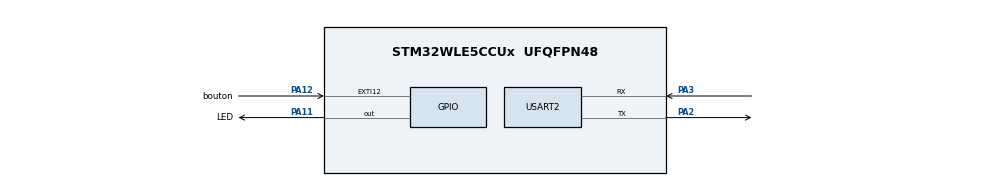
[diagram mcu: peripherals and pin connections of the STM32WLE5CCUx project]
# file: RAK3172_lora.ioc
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FREERTOS.Tasks01=defaultTask,24,256,StartDefaultTask,Default,NULL,Dynamic,NULL,NULL;LORA_RX_Task,8,256,LORA_RXTsk,Default,NULL,Dynamic,NULL,NULL;LORA_TX_Task,12,256,LORA_TXTsk,Default,NULL,Dynamic,NULL,NULL;Appli_Task,24,480,Appli_Tsk,Default,NULL,Dynamic,NULL,NULL
FREERTOS.configTOTAL_HEAP_SIZE=10000
FREERTOS.configUSE_NEWLIB_REENTRANT=1
FREERTOS.configUSE_TICKLESS_IDLE=1
IWDG.Prescaler=IWDG_PRESCALER_256
IWDG.Reload=0xfff
IWDG.Window=0xfff
Mcu.Family=STM32WL
Mcu.Name=STM32WLE5CCUx
Mcu.Package=UFQFPN48
NVIC.PriorityGroup=NVIC_PRIORITYGROUP_4
NVIC.SUBGHZ_Radio_IRQn=true\:5\:0\:false\:false\:true\:true\:true\:true\:true
NVIC.TIM16_IRQn=true\:0\:0\:false\:false\:true\:false\:false\:true\:true
NVIC.TimeBase=TIM16_IRQn
NVIC.TimeBaseIP=TIM16
PA11.GPIO_Label=LED
PA11.PinState=GPIO_PIN_RESET
PA11.Signal=GPIO_Output
PA12.GPIO_Label=bouton
PA12.GPIO_ModeDefaultEXTI=GPIO_MODE_IT_FALLING
PA12.GPIO_PuPd=GPIO_PULLUP
PA12.Signal=GPXTI12
PA2.Mode=Asynchronous
PA2.Signal=USART2_TX
PA3.Mode=Asynchronous
PA3.Signal=USART2_RX
ProjectManager.HeapSize=0x200
ProjectManager.StackSize=0x400
ProjectManager.TargetToolchain=STM32CubeIDE
RCC.HSE_VALUE=8000000
RCC.HSI_VALUE=16000000
RCC.LSE_VALUE=32768
RCC.VCOOutputFreq_Value=32000000
USART2.VirtualMode-Asynchronous=VM_ASYNC
VP_FREERTOS_VS_CMSIS_V2.Mode=CMSIS_V2
VP_IWDG_VS_IWDG.Mode=IWDG_Activate
VP_RTC_VS_RTC_Activate.Mode=RTC_Enabled
VP_RTC_VS_RTC_Calendar.Mode=RTC_Calendar
VP_SUBGHZ_VS_SUBGHZ.Mode=SUBGHZ_Activate
VP_SYS_VS_tim16.Mode=TIM16
board=custom

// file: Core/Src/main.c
/* USER CODE BEGIN Header */
/**
  ******************************************************************************
  * @file           : main.c
  * @brief          : Main program body
  ******************************************************************************
  * @attention
  *
  * Copyright (c) 2025 STMicroelectronics.
  * All rights reserved.
  *
  * This software is licensed under terms that can be found in the LICENSE file
  * in the root directory of this software component.
  * If no LICENSE file comes with this software, it is provided AS-IS.
  *
  ******************************************************************************
  */

/*
 TODO : timer, reception/traitement message, eeprom lecture/ecriture, log en flash, pile envoi message lora,
 mesure mode STOP, watchdog, adresses LORA/Uart
 clignot sorties, pwm,  antirebond 2 boutons, 2e uart

 v1.5 10/2025 : eeprom, log_flash, rtc, messages binaires, attente dans en_queue
 v1.4 09/2025 : fct : refonte reception uart, watchdog contextuel, traitement_rx, opti stack
 v1.3 09/2025 : fct : augmentation stack taches, erreur_freertos
 v1.2 09/2025 : pile envoi uart, timer, code_erreur
 v1.1 09/2025 : STM32CubeMX + freertos+ subGhz+ Uart2+ RTC+ print_log+ event_queue
*/

/* USER CODE END Header */
#include "main.h"
#include "cmsis_os.h"

/* USER CODE BEGIN Includes */

#include <communication.h>
#include <fonctions.h>
#include <eeprom_emul.h>
#include <log_flash.h>
#include "timers.h"
#include "queue.h"
#include <stdio.h>    // Pour sprintf
#include <string.h>   // Pour strlen
#include <stdarg.h>   // Pour va_list (si vous utilisez print_log)

/* USER CODE END Includes */

/* USER CODE BEGIN PTD */

extern TimerHandle_t HTimer_24h;
extern TimerHandle_t HTimer_20min;
extern osThreadId_t Uart_RX_TaskHandle;
extern osThreadId_t Uart_TX_TaskHandle;

HAL_StatusTypeDef configure_lse_oscillator(void);
HAL_StatusTypeDef configure_lsi_oscillator(void);

/* USER CODE END PTD */

/* USER CODE BEGIN PM */
 QueueHandle_t Event_QueueHandle;

 /* Stack utilisée (en mots de 32 bits)
  création tache sans rien : 48
  LOG_INFO : 58
  LOG %s : 78
  envoie_mess_ASC simple: 64
  envoie_mess_ASC %s : 76
  eeprom : 90
  */

/* USER CODE END PM */

IWDG_HandleTypeDef hiwdg;

RTC_HandleTypeDef hrtc;

SUBGHZ_HandleTypeDef hsubghz;

UART_HandleTypeDef huart2;

/* Definitions for defaultTask */
osThreadId_t defaultTaskHandle;
const osThreadAttr_t defaultTask_attributes = {
  .name = "defaultTask",
  .priority = (osPriority_t) osPriorityNormal,
  .stack_size = 256 * 4
};
/* Definitions for LORA_RX_Task */
osThreadId_t LORA_RX_TaskHandle;
const osThreadAttr_t LORA_RX_Task_attributes = {
  .name = "LORA_RX_Task",
  .priority = (osPriority_t) osPriorityLow,
  .stack_size = 256 * 4
};
/* Definitions for LORA_TX_Task */
osThreadId_t LORA_TX_TaskHandle;
const osThreadAttr_t LORA_TX_Task_attributes = {
  .name = "LORA_TX_Task",
  .priority = (osPriority_t) osPriorityLow4,
  .stack_size = 256 * 4
};
/* Definitions for Appli_Task */
osThreadId_t Appli_TaskHandle;
const osThreadAttr_t Appli_Task_attributes = {
  .name = "Appli_Task",
  .priority = (osPriority_t) osPriorityNormal,
  .stack_size = 480 * 4
};
/* USER CODE BEGIN PV */

uint8_t test_val=0;

/* USER CODE END PV */

void SystemClock_Config(void);
static void MX_GPIO_Init(void);
static void MX_SUBGHZ_Init(void);
static void MX_RTC_Init(void);
static void MX_USART2_UART_Init(void);
static void MX_IWDG_Init(void);
void StartDefaultTask(void *argument);
void LORA_RXTsk(void *argument);
void LORA_TXTsk(void *argument);
void Appli_Tsk(void *argument);

int main(void)
{

  /* MCU Configuration--------------------------------------------------------*/

  /* Reset of all peripherals, Initializes the Flash interface and the Systick. */
  HAL_Init();

  /* Configure the system clock */
  SystemClock_Config();

  /* Initialize all configured peripherals */
  MX_GPIO_Init();
  MX_SUBGHZ_Init();
  MX_RTC_Init();
  MX_USART2_UART_Init();
  MX_IWDG_Init();
  /* USER CODE BEGIN 2 */

  //LOG_INFO("=== RAK3172 LoRa System Started ===");
  //LOG_INFO("Log level: %d", get_log_level());

  char init_msg[] = "-- RAK3172 Init. Log level:x\r";
  init_msg[0] = dest_log;
  init_msg[1] = My_Address;
  init_msg[27] = get_log_level()+'0';
  uint16_t len = strlen(init_msg);
  HAL_UART_Transmit(&huart2, (uint8_t*)init_msg, len, 3000);
  HAL_Delay(500);

  // Afficher la cause du reset dès le démarrage
  //display_reset_cause();

  // configure l'oscillateur
 /* if (configure_lsi_oscillator() == HAL_OK) {
        LOG_INFO("LSI configured (no TCXO)");
  } else {
         LOG_ERROR("No RTC oscillator available");
            }*/
  /* Essayer LSE d'abord (TCXO)
      if (configure_lse_oscillator() == HAL_OK) {
          LOG_INFO("TCXO detected and configured");
      } else {
          // Fallback sur LSI
          if (configure_lsi_oscillator() == HAL_OK) {
              LOG_INFO("LSI configured (no TCXO)");
          } else {
              LOG_ERROR("No RTC oscillator available");
          }
      }*/

  /* USER CODE END 2 */

  /* Init scheduler */
  osKernelInitialize();

  /* USER CODE BEGIN RTOS_TIMERS */
  //const char* init_msg2 = "suite\r\n";
  //len = strlen(init_msg2);
  //HAL_UART_Transmit(&huart2, (uint8_t*)init_msg2, len, 3000);
  //HAL_Delay(100);
  //char lsi_status[20];
  //sprintf(lsi_status, "LSI status: %s", __HAL_RCC_GET_FLAG(RCC_FLAG_LSIRDY) ? "Ready" : "Not Ready");
  //len = strlen(lsi_status);
  //HAL_UART_Transmit(&huart2, (uint8_t*)lsi_status, len, 3000);
  //HAL_Delay(100);

  /* start timers, add new ones, ... */
  /* USER CODE END RTOS_TIMERS */

  /* USER CODE BEGIN RTOS_QUEUES */
  /* add queues, ... */
  Event_QueueHandle = xQueueCreate(32, sizeof(uint16_t));

  size_t freeHeap = xPortGetFreeHeapSize();
    char msgL[50];
    sprintf(msgL, "Free heap before tasks: %i bytes\r", freeHeap);
    HAL_Delay(500);
    HAL_UART_Transmit(&huart2, (uint8_t*)msgL, strlen(msgL), 3000);
    HAL_Delay(500);

    init_communication();

  /* USER CODE END RTOS_QUEUES */

  /* Create the thread(s) */
  /* creation of defaultTask */
  defaultTaskHandle = osThreadNew(StartDefaultTask, NULL, &defaultTask_attributes);

  /* creation of LORA_RX_Task */
  LORA_RX_TaskHandle = osThreadNew(LORA_RXTsk, NULL, &LORA_RX_Task_attributes);

  /* creation of LORA_TX_Task */
  LORA_TX_TaskHandle = osThreadNew(LORA_TXTsk, NULL, &LORA_TX_Task_attributes);

  /* creation of Appli_Task */
  Appli_TaskHandle = osThreadNew(Appli_Tsk, NULL, &Appli_Task_attributes);

  /* USER CODE BEGIN RTOS_THREADS */
  uint8_t code_err_tache=0;
    if (defaultTaskHandle == NULL) code_err_tache=1;
    if (LORA_RX_TaskHandle == NULL) code_err_tache|=2;
    if (LORA_TX_TaskHandle == NULL) code_err_tache|=4;
    if (Appli_TaskHandle == NULL) code_err_tache|=8;
    if (Uart_RX_TaskHandle == NULL) code_err_tache|=16;
    if (Uart_TX_TaskHandle == NULL) code_err_tache|=32;

    if (code_err_tache) {
  	   HAL_Delay(500);
  	   sprintf(msgL, "erreur tache: %02X ", code_err_tache);
  	  HAL_UART_Transmit(&huart2, (uint8_t*)msgL, strlen(msgL), 3000);
  	   HAL_Delay(500);
        //LOG_ERROR("Failed to create Appli_Task");
        // La tâche n'a pas pu être créée
    }
    // Après la création :
     freeHeap = xPortGetFreeHeapSize();
    sprintf(msgL, "Free heap after tasks: %i bytes\r", freeHeap);
    HAL_Delay(500);
    HAL_UART_Transmit(&huart2, (uint8_t*)msgL, strlen(msgL), 3000);
    HAL_Delay(500);

    init_functions();

  /* add threads, ... */
  /* USER CODE END RTOS_THREADS */

  /* Start scheduler */
  osKernelStart();

  /* We should never get here as control is now taken by the scheduler */

  /* Infinite loop */
  while (1)
  {

  }
}

void SystemClock_Config(void)
{
  RCC_OscInitTypeDef RCC_OscInitStruct = {0};
  RCC_ClkInitTypeDef RCC_ClkInitStruct = {0};

  /** Configure the main internal regulator output voltage
  */
  __HAL_PWR_VOLTAGESCALING_CONFIG(PWR_REGULATOR_VOLTAGE_SCALE2);

  /** Initializes the CPU, AHB and APB buses clocks
  */
  RCC_OscInitStruct.OscillatorType = RCC_OSCILLATORTYPE_LSI|RCC_OSCILLATORTYPE_MSI;
  RCC_OscInitStruct.MSIState = RCC_MSI_ON;
  RCC_OscInitStruct.MSICalibrationValue = RCC_MSICALIBRATION_DEFAULT;
  RCC_OscInitStruct.MSIClockRange = RCC_MSIRANGE_6;
  RCC_OscInitStruct.LSIDiv = RCC_LSI_DIV1;
  RCC_OscInitStruct.LSIState = RCC_LSI_ON;
  RCC_OscInitStruct.PLL.PLLState = RCC_PLL_NONE;
  if (HAL_RCC_OscConfig(&RCC_OscInitStruct) != HAL_OK)
  {
    Error_Handler();
  }

  /** Configure the SYSCLKSource, HCLK, PCLK1 and PCLK2 clocks dividers
  */
  RCC_ClkInitStruct.ClockType = RCC_CLOCKTYPE_HCLK3|RCC_CLOCKTYPE_HCLK
                              |RCC_CLOCKTYPE_SYSCLK|RCC_CLOCKTYPE_PCLK1
                              |RCC_CLOCKTYPE_PCLK2;
  RCC_ClkInitStruct.SYSCLKSource = RCC_SYSCLKSOURCE_MSI;
  RCC_ClkInitStruct.AHBCLKDivider = RCC_SYSCLK_DIV1;
  RCC_ClkInitStruct.APB1CLKDivider = RCC_HCLK_DIV1;
  RCC_ClkInitStruct.APB2CLKDivider = RCC_HCLK_DIV1;
  RCC_ClkInitStruct.AHBCLK3Divider = RCC_SYSCLK_DIV1;

  if (HAL_RCC_ClockConfig(&RCC_ClkInitStruct, FLASH_LATENCY_0) != HAL_OK)
  {
    Error_Handler();
  }
}

static void MX_IWDG_Init(void)
{

  /* USER CODE BEGIN IWDG_Init 1 */
	#ifdef WATCHDOG

  /* USER CODE END IWDG_Init 1 */
  hiwdg.Instance = IWDG;
  hiwdg.Init.Prescaler = IWDG_PRESCALER_256;
  hiwdg.Init.Window = 0xfff;
  hiwdg.Init.Reload = 0xfff;
  if (HAL_IWDG_Init(&hiwdg) != HAL_OK)
  {
    Error_Handler();
  }
  /* USER CODE BEGIN IWDG_Init 2 */
	#endif

  /* USER CODE END IWDG_Init 2 */

}

static void MX_RTC_Init(void)
{

  RTC_TimeTypeDef sTime = {0};
  RTC_DateTypeDef sDate = {0};

  /** Initialize RTC Only
  */
  hrtc.Instance = RTC;
  hrtc.Init.HourFormat = RTC_HOURFORMAT_24;
  hrtc.Init.AsynchPrediv = 127;
  hrtc.Init.SynchPrediv = 255;
  hrtc.Init.OutPut = RTC_OUTPUT_DISABLE;
  hrtc.Init.OutPutRemap = RTC_OUTPUT_REMAP_NONE;
  hrtc.Init.OutPutPolarity = RTC_OUTPUT_POLARITY_HIGH;
  hrtc.Init.OutPutType = RTC_OUTPUT_TYPE_OPENDRAIN;
  hrtc.Init.OutPutPullUp = RTC_OUTPUT_PULLUP_NONE;
  hrtc.Init.BinMode = RTC_BINARY_NONE;
  if (HAL_RTC_Init(&hrtc) != HAL_OK)
  {
    Error_Handler();
  }

  /** Initialize RTC and set the Time and Date
  */
  sTime.Hours = 0x0;
  sTime.Minutes = 0x0;
  sTime.Seconds = 0x0;
  sTime.DayLightSaving = RTC_DAYLIGHTSAVING_NONE;
  sTime.StoreOperation = RTC_STOREOPERATION_RESET;
  if (HAL_RTC_SetTime(&hrtc, &sTime, RTC_FORMAT_BCD) != HAL_OK)
  {
    Error_Handler();
  }
  sDate.WeekDay = RTC_WEEKDAY_MONDAY;
  sDate.Month = RTC_MONTH_JANUARY;
  sDate.Date = 0x1;
  sDate.Year = 0x0;

  if (HAL_RTC_SetDate(&hrtc, &sDate, RTC_FORMAT_BCD) != HAL_OK)
  {
    Error_Handler();
  }

}

static void MX_SUBGHZ_Init(void)
{

  hsubghz.Init.BaudratePrescaler = SUBGHZSPI_BAUDRATEPRESCALER_8;
  if (HAL_SUBGHZ_Init(&hsubghz) != HAL_OK)
  {
    Error_Handler();
  }
  /* USER CODE BEGIN SUBGHZ_Init 2 */

  // Configuration LoRa
  // Fréquence 868 MHz
  uint8_t freq_config[] = {0x00, 0x00, 0x00, 0x00}; // À ajuster selon votre fréquence
  HAL_SUBGHZ_WriteRegisters(&hsubghz, 0x08, freq_config, 4);

  // Configuration LoRa (SF7, BW125, CR4/5)
  uint8_t lora_config[] = {0x72, 0x74, 0x00};
  HAL_SUBGHZ_WriteRegisters(&hsubghz, 0x1E, lora_config, 3);

  //LOG_INFO("SUBGHZ LoRa configured");

  /* USER CODE END SUBGHZ_Init 2 */

}

static void MX_USART2_UART_Init(void)
{

  huart2.Instance = USART2;
  huart2.Init.BaudRate = 115200;
  huart2.Init.WordLength = UART_WORDLENGTH_8B;
  huart2.Init.StopBits = UART_STOPBITS_1;
  huart2.Init.Parity = UART_PARITY_NONE;
  huart2.Init.Mode = UART_MODE_TX_RX;
  huart2.Init.HwFlowCtl = UART_HWCONTROL_NONE;
  huart2.Init.OverSampling = UART_OVERSAMPLING_16;
  huart2.Init.OneBitSampling = UART_ONE_BIT_SAMPLE_DISABLE;
  huart2.Init.ClockPrescaler = UART_PRESCALER_DIV1;
  huart2.AdvancedInit.AdvFeatureInit = UART_ADVFEATURE_NO_INIT;
  if (HAL_UART_Init(&huart2) != HAL_OK)
  {
    Error_Handler();
  }
  if (HAL_UARTEx_SetTxFifoThreshold(&huart2, UART_TXFIFO_THRESHOLD_1_8) != HAL_OK)
  {
    Error_Handler();
  }
  if (HAL_UARTEx_SetRxFifoThreshold(&huart2, UART_RXFIFO_THRESHOLD_1_8) != HAL_OK)
  {
    Error_Handler();
  }
  if (HAL_UARTEx_DisableFifoMode(&huart2) != HAL_OK)
  {
    Error_Handler();
  }

}

static void MX_GPIO_Init(void)
{
  GPIO_InitTypeDef GPIO_InitStruct = {0};

  /* GPIO Ports Clock Enable */
  __HAL_RCC_GPIOA_CLK_ENABLE();

  /*Configure GPIO pin Output Level */
  HAL_GPIO_WritePin(LED_GPIO_Port, LED_Pin, GPIO_PIN_RESET);

  /*Configure GPIO pin : LED_Pin */
  GPIO_InitStruct.Pin = LED_Pin;
  GPIO_InitStruct.Mode = GPIO_MODE_OUTPUT_PP;
  GPIO_InitStruct.Pull = GPIO_NOPULL;
  GPIO_InitStruct.Speed = GPIO_SPEED_FREQ_LOW;
  HAL_GPIO_Init(LED_GPIO_Port, &GPIO_InitStruct);

  /*Configure GPIO pin : bouton_Pin */
  GPIO_InitStruct.Pin = bouton_Pin;
  GPIO_InitStruct.Mode = GPIO_MODE_IT_FALLING;
  GPIO_InitStruct.Pull = GPIO_PULLUP;
  HAL_GPIO_Init(bouton_GPIO_Port, &GPIO_InitStruct);

}

/* USER CODE BEGIN 4 */

/**
 * @brief Configuration de LSE (TCXO externe)
 * @retval HAL_StatusTypeDef: Statut de la configuration
 */
HAL_StatusTypeDef configure_lse_oscillator(void)
{
    RCC_OscInitTypeDef RCC_OscInitStruct = {0};
    HAL_StatusTypeDef status;

    LOG_DEBUG("Attempting to configure LSE (TCXO)");

    // Configuration LSE
    RCC_OscInitStruct.OscillatorType = RCC_OSCILLATORTYPE_LSE;
    RCC_OscInitStruct.LSEState = RCC_LSE_ON;
    RCC_OscInitStruct.PLL.PLLState = RCC_PLL_NONE;

    status = HAL_RCC_OscConfig(&RCC_OscInitStruct);

    if (status == HAL_OK) {
        // Vérifier que LSE est vraiment actif
        uint32_t timeout = 1000;
        while (!__HAL_RCC_GET_FLAG(RCC_FLAG_LSERDY) && timeout > 0) {
            osDelay(1);
            timeout--;
        }

        if (__HAL_RCC_GET_FLAG(RCC_FLAG_LSERDY)) {
            LOG_INFO("LSE (TCXO) configured successfully");
            return HAL_OK;
        } else {
            LOG_WARNING("LSE startup timeout");
            return HAL_TIMEOUT;
        }
    } else {
        LOG_WARNING("LSE configuration failed: %d", status);
        return status;
    }
}

/**
 * @brief Configuration de LSI (oscillateur interne)
 * @retval HAL_StatusTypeDef: Statut de la configuration
 */
HAL_StatusTypeDef configure_lsi_oscillator(void)
{
    RCC_OscInitTypeDef RCC_OscInitStruct = {0};
    HAL_StatusTypeDef status;

    LOG_DEBUG("Attempting to configure LSI (internal oscillator)");

    // Configuration LSI
    RCC_OscInitStruct.OscillatorType = RCC_OSCILLATORTYPE_LSI;
    RCC_OscInitStruct.LSIState = RCC_LSI_ON;
    RCC_OscInitStruct.PLL.PLLState = RCC_PLL_NONE;

    status = HAL_RCC_OscConfig(&RCC_OscInitStruct);

    if (status == HAL_OK) {
        // Vérifier que LSI est actif
        uint32_t timeout = 1000;
        while (!__HAL_RCC_GET_FLAG(RCC_FLAG_LSIRDY) && timeout > 0) {
            osDelay(1);
            timeout--;
        }

        if (__HAL_RCC_GET_FLAG(RCC_FLAG_LSIRDY)) {
            LOG_INFO("LSI (internal oscillator) configured successfully");
            return HAL_OK;
        } else {
            LOG_WARNING("LSI startup timeout");
            return HAL_TIMEOUT;
        }
    } else {
        LOG_WARNING("LSI configuration failed: %d", status);
        return status;
    }
}

/**
 * @brief Envoyer un événement dans la queue
 * @param type: Type d'événement
 * @param source: Source de l'événement
 * @param data: Données de l'événement
 * @retval osStatus_t: Statut de l'envoi
 */
osStatus_t send_event(uint8_t type, uint8_t source, uint16_t data)
{
    event_t evt;
    evt.type = type;
    evt.source = source;
    evt.data = data;
    if (xQueueSend(Event_QueueHandle, &evt, 0) != pdPASS)
    {
        LOG_ERROR("Event queue full - message lost");
        return osErrorResource;
    }
    return osOK;
}

/**
 * @brief Envoyer un événement simple
 * @param type: Type d'événement
 * @retval osStatus_t: Statut de l'envoi
 */
osStatus_t send_simple_event(uint8_t type)
{
    return send_event(type, SOURCE_SYSTEM, 0);
}

/* USER CODE END 4 */

void StartDefaultTask(void *argument)
{
  /* USER CODE BEGIN 5 */
  // Démarrer la surveillance watchdog pour cette tâche
	#ifdef WATCHDOG
	  watchdog_task_start(WATCHDOG_TASK_DEFAULT);
	  //LOG_INFO("DefaultTask started with watchdog protection");
	#endif

  uint32_t last_status_time = 0;
  uint32_t last_save_time = 0;

  /* Infinite loop */
  for(;;)
  {
    // Enregistrer un heartbeat pour le watchdog
    watchdog_task_heartbeat(WATCHDOG_TASK_DEFAULT);

    uint32_t current_time = HAL_GetTick();

    // Afficher le statut du watchdog toutes les 30 secondes
    if (current_time - last_status_time > 10000) {
        //watchdog_print_status();
        last_status_time = current_time;
        //osDelay(3000); // Attendre 3 seconde
		//check_stack_usage();

        uint8_t value;
        if (test_val ==1)
        	LOG_INFO("toto");
        if (test_val == 2)
            LOG_INFO("test:FLASH_PAGE_SIZE: %i octets", 1233330);
        if (test_val == 3)
        {
        	char messa[10];
        	messa[0] = '1';
            messa[1] = 'S';  // Accusï¿½ reception ok : S1
            messa[2] = '1';
            messa[3] = car_fin_trame;
            envoie_mess_ASC((const char*)messa);
        }
        if (test_val == 4)
        {
        	uint8_t messa = 'c';
            envoie_mess_ASC("1te%cVAnal %i", messa, 12);
        }
        if (test_val == 5)
        	EEPROM_Read8(1, &value);
        if (test_val == 6)
        	EEPROM_Write8(1, 12);
        if (test_val == 7)
        	EEPROM_Read8(1, &value);
        if (test_val == 8)
        	log_read(1, 1, '1', 0);
        if (test_val ==9)
        	log_write('T', 1, 0x02, 0x03, "testRxBl");    }
		if (test_val ==10)
			log_read(1, 4, '1', 0);
   	    if (test_val ==11)
		    log_read(1, 1, '1', 1);

    // Sauvegarder les données de diagnostic toutes les 60 secondes
    if (current_time - last_save_time > 60000) {
        //save_diagnostic_data();
        last_save_time = current_time;
    }
    HAL_IWDG_Refresh(&hiwdg);

    osDelay(1000); // Attendre 1 seconde entre chaque heartbeat
  }
  /* USER CODE END 5 */
}

void LORA_RXTsk(void *argument)
{
  /* USER CODE BEGIN LORA_RXTsk */
  // Démarrer la surveillance watchdog pour cette tâche
  watchdog_task_start(WATCHDOG_TASK_LORA_RX);
  //LOG_INFO("LoRa RX Task started with watchdog protection");

  /* Infinite loop */
	uint8_t rx_buffer[64];
	uint8_t radio_status;

    osDelay(100);

	for(;;)
	{
		// Enregistrer un heartbeat pour le watchdog
		watchdog_task_heartbeat(WATCHDOG_TASK_LORA_RX);

		// Vérifier l'état du radio
		if (HAL_SUBGHZ_ReadRegister(&hsubghz, 0x01, &radio_status) == HAL_OK) {

			// Vérifier si un message est disponible
			if (radio_status & 0x02) { // Bit RX_DONE
				LOG_DEBUG("LoRa message received");

				// Lire le message depuis le buffer radio
				if (HAL_SUBGHZ_ReadBuffer(&hsubghz, 0x00, rx_buffer, 64) == HAL_OK) {
					LOG_INFO("Received LoRa message: %s", rx_buffer);
		            send_event(EVENT_LORA_RX, SOURCE_LORA, strlen((char*)rx_buffer));
				} else {
					LOG_ERROR("Failed to read LoRa buffer");
				}

				// Effacer le flag RX_DONE
				HAL_SUBGHZ_WriteRegister(&hsubghz, 0x01, 0x02);
			} else {
				LOG_VERBOSE("No LoRa message");
			}
		} else {
			LOG_WARNING("Failed to read radio status");
		}

		osDelay(1000);
	}
  /* USER CODE END LORA_RXTsk */
}

void LORA_TXTsk(void *argument)
{
  /* USER CODE BEGIN LORA_TXTsk */
  // Démarrer la surveillance watchdog pour cette tâche
  watchdog_task_start(WATCHDOG_TASK_LORA_TX);
  //LOG_INFO("LoRa TX Task started with watchdog protection");

  /* Infinite loop */

  uint32_t message_count = 0;
  uint8_t tx_buffer[64];
  uint8_t radio_status;

  osDelay(100);

  for(;;)
  {
	  // Enregistrer un heartbeat pour le watchdog
	  watchdog_task_heartbeat(WATCHDOG_TASK_LORA_TX);

	  // Attendre un délai
	  osDelay(12000);
	  //LOG_INFO("a");

	  // Créer un message avec timestamp
	  uint32_t timestamp = HAL_GetTick() / 1000; // secondes
	  sprintf((char *)tx_buffer, "LoRa message #%lu at %lu s", message_count++, timestamp);

       //LOG_DEBUG("Sending LoRa message: %s", tx_buffer);

       // Vérifier que le radio est libre
       if (HAL_SUBGHZ_ReadRegister(&hsubghz, 0x01, &radio_status) == HAL_OK) {
           if (!(radio_status & 0x01)) { // Pas en transmission

               // Écrire le message dans le buffer radio
               if (HAL_SUBGHZ_WriteBuffer(&hsubghz, 0x00, tx_buffer, strlen((char*)tx_buffer)) == HAL_OK) {

                   // Démarrer la transmission
                   /*uint8_t tx_cmd = 0x83; // Commande TX
                   if (HAL_SUBGHZ_ExecSetCmd(&hsubghz, tx_cmd, NULL, 0) == HAL_OK)
                   {
                       LOG_INFO("LoRa transmission started");

                       // Attendre la fin de transmission
                       osDelay(100);

                       // Vérifier le statut
                       if (HAL_SUBGHZ_ReadRegister(&hsubghz, 0x01, &radio_status) == HAL_OK) {
                           if (radio_status & 0x08) { // TX_DONE
                               LOG_INFO("LoRa message sent successfully");
                               send_event(EVENT_LORA_TX, SOURCE_LORA, message_count);
                           } else {
                               LOG_ERROR("LoRa transmission failed");
                               send_event(EVENT_ERROR, SOURCE_LORA, 1);
                           }
                       }
                   } else {
                       LOG_ERROR("Failed to start LoRa transmission");
                   }*/
               } else {
                   LOG_ERROR("Failed to write LoRa buffer");
               }
           } else {
               LOG_WARNING("LoRa radio busy");
           }
       } else {
           LOG_ERROR("Failed to read radio status");
       }
  }
  /* USER CODE END LORA_TXTsk */
}

void Appli_Tsk(void *argument)
{
  /* USER CODE BEGIN Appli_Tsk */
  // Démarrer la surveillance watchdog pour cette tâche
	   //HAL_UART_Transmit(&huart2, (uint8_t*)"InitA", 5, 3000);
	   //HAL_Delay(500);

  watchdog_task_start(WATCHDOG_TASK_APPLI);
  //LOG_INFO("Appli_Task started with watchdog protection");

  //HAL_UART_Transmit(&huart2, (uint8_t*)"InitB", 5, 3000);
  //HAL_Delay(500);

    event_t evt;
    osStatus_t status;

    osDelay(1000);

    // Vérifier la configuration flash
    //check_flash_config();
    //check_flash_permissions();
    //osDelay(1000);

    osDelay(1000);

    if (EEPROM_Init() == HAL_OK)
            LOG_INFO("EEPROM initialisee");
         else
            LOG_ERROR("Erreur EEPROM");

    /*if (EEPROM_Init() == HAL_OK) {
        LOG_INFO("eeprom initialisee");
        osDelay(1000);
        // Test simple
        test_eeprom_simple();
    } else {
        LOG_ERROR("Erreur eeprom");
    }*/

    for(;;)
    {
        // Enregistrer un heartbeat pour le watchdog
        watchdog_task_heartbeat(WATCHDOG_TASK_APPLI);

        watchdog_set_context(WATCHDOG_TASK_APPLI, WATCHDOG_CONTEXT_WAITING);

        // Attendre un événement (bloque tant qu'il n'y a rien)
        status = osMessageQueueGet(Event_QueueHandle, &evt, NULL, osWaitForever);

        watchdog_set_context(WATCHDOG_TASK_APPLI, WATCHDOG_CONTEXT_ACTIVE);

        if (status == osOK)
        {
			// Traiter l'événement reçu
			//LOG_DEBUG("Processing event: type=%d, source=%d, data=%d",
			//		  evt.type, evt.source, evt.data);
			//osDelay(30);

			switch (evt.type) {

				case EVENT_BUTTON: {
					LOG_INFO("Button pressed event");
					// Actions pour bouton pressé
					HAL_GPIO_TogglePin(GPIOA, GPIO_PIN_1); // Toggle LED

					// Envoyer message LoRa
					char messa[] = "Button pressed!";
					send_lora_message((const char*)messa, 16, 'Q');
					break;
				}

				case EVENT_LORA_RX: {
					LOG_INFO("LoRa message received event");
					// Actions pour message LoRa reçu
					HAL_GPIO_WritePin(GPIOA, GPIO_PIN_1, GPIO_PIN_SET); // LED ON
					osDelay(500);
					HAL_GPIO_WritePin(GPIOA, GPIO_PIN_1, GPIO_PIN_RESET); // LED OFF
					break;
				}

				case EVENT_LORA_TX: {
					LOG_INFO("LoRa message sent event");
					// Actions pour message LoRa envoyé
					for (int i = 0; i < 3; i++) {
						HAL_GPIO_WritePin(GPIOA, GPIO_PIN_1, GPIO_PIN_SET);
						osDelay(100);
						HAL_GPIO_WritePin(GPIOA, GPIO_PIN_1, GPIO_PIN_RESET);
						osDelay(100);
					}
					break;
				}

				case EVENT_UART_RX: {
					//LOG_INFO("UART message received event");
					in_message_t message_in;
			        if (xQueueReceive(in_message_queue, &message_in, portMAX_DELAY) == pdPASS)
			        {
			            // Traiter le message selon son type
						reception_message_Uart2(&message_in);
			        }
					break;
				}

				case EVENT_ERROR: {
					LOG_ERROR("Error event - data: %d", evt.data);
					// Actions pour erreur
					for (int i = 0; i < 5; i++) {
						HAL_GPIO_WritePin(GPIOA, GPIO_PIN_1, GPIO_PIN_SET);
						osDelay(50);
						HAL_GPIO_WritePin(GPIOA, GPIO_PIN_1, GPIO_PIN_RESET);
						osDelay(50);
					}
					break;
				}

				case EVENT_WAKE_UP: {
					LOG_INFO("Wake up event");
					// Actions pour réveil
					HAL_GPIO_WritePin(GPIOA, GPIO_PIN_1, GPIO_PIN_SET);
					osDelay(100);
					HAL_GPIO_WritePin(GPIOA, GPIO_PIN_1, GPIO_PIN_RESET);
					break;
				}

				case EVENT_SLEEP: {
					LOG_INFO("Sleep event");
					// Actions avant sleep
					HAL_GPIO_WritePin(GPIOA, GPIO_PIN_1, GPIO_PIN_SET);
					osDelay(100);
					HAL_GPIO_WritePin(GPIOA, GPIO_PIN_1, GPIO_PIN_RESET);
					break;
				}

				case EVENT_SYSTEM_RESET: {
					LOG_INFO("System reset event");
					// Actions avant reset
					for (int i = 0; i < 10; i++) {
						HAL_GPIO_WritePin(GPIOA, GPIO_PIN_1, GPIO_PIN_SET);
						osDelay(50);
						HAL_GPIO_WritePin(GPIOA, GPIO_PIN_1, GPIO_PIN_RESET);
						osDelay(50);
					}
					osDelay(1000);
					HAL_NVIC_SystemReset();
					break;
				}
				case EVENT_WATCHDOG_CHECK: {
				    watchdog_check_all_tasks();
				    break;
				}
				case EVENT_TIMER_24h: {
					envoie_mess_ASC("1Message periodique 24h\r\n");

					// Debug : afficher le temps restant avant la prochaine expiration
					TickType_t expiry = xTimerGetExpiryTime(HTimer_24h);
					TickType_t now = xTaskGetTickCount();
					LOG_INFO("Il reste %lu ticks avant la prochaine expiration\n",
						   (expiry > now) ? (expiry - now) : 0);
					break;
				}
				case EVENT_TIMER_20min: {

					//LOG_INFO("a");
					//LOG_INFO("TIMER 20s event");
					//osDelay(1000);
					//check_stack_usage();
					//uint8_t statut=envoie_mess_ASC("Message periodique 30s");
					//if (statut) { code_erreur= code_erreur_envoi; err_donnee1=statut;}
					//uint8_t statut=envoie_mess_ASC("PRS");
					//osDelay(100);
					//LOG_INFO("statut:%d", statut);
					//osDelay(1000);

					// Debug : afficher le temps restant avant la prochaine expiration
					//TickType_t expiry = xTimerGetExpiryTime(HTimer_20min);
					//TickType_t now = xTaskGetTickCount();
					osDelay(100);
					//LOG_INFO("Il reste %lu ticks avant la prochaine expir\n",
					//	   (expiry > now) ? (expiry - now) : 0);
					//osDelay(100);
					break;
				}
				case EVENT_UART_RAZ: {
					LOG_WARNING("RX Timeout for UART %i", evt.source);
					code_erreur=timeout_RX;   //timeout apres 1 car Recu
				    err_donnee1= evt.source+'0';
				    raz_Uart(evt.data);
				    break;
				}

				default: {
					LOG_WARNING("Unknown event type: %d", evt.type);
					break;
				}
			}
	        if (code_erreur)
	            envoi_code_erreur();
        }
        else {
            LOG_ERROR("Failed to receive event: %d", status);
        }
        osDelay(100);
    }

  /* USER CODE END Appli_Tsk */
}

void HAL_TIM_PeriodElapsedCallback(TIM_HandleTypeDef *htim)
{
  if (htim->Instance == TIM16)
  {
    HAL_IncTick();
  }
  /* USER CODE BEGIN Callback 1 */
}

  void assert_failed(const char *file, int line)
  {
      char msg[100];
      int len = snprintf(msg, sizeof(msg), "-- ASSERT failed at %s:%d\r\n", file, line);
      msg[0] = dest_log;
      msg[1] = My_Address;
      HAL_UART_Transmit(&huart2, (uint8_t*)msg, len, HAL_MAX_DELAY);

      HAL_Delay(2000);

      // Reset du système
      NVIC_SystemReset();
      // Bloquer ici
      //taskDISABLE_INTERRUPTS();
      //for(;;);
  /* USER CODE END Callback 1 */
}

void Error_Handler(void)
{
  /* USER CODE BEGIN Error_Handler_Debug */
  /* User can add his own implementation to report the HAL error return state */
  __disable_irq();

  const char* error_msg = "ERROR: System failure\r\n";
  uint16_t len = strlen(error_msg);

  // Envoi direct via HAL_UART
  HAL_UART_Transmit(&huart2, (uint8_t*)error_msg, len, 3000);

  #ifdef DEBUG
		// Mode debug : boucle infinie pour debugging
		__disable_irq();
		while (1)
		{
			const char* debug_msg = "DEBUG: System halted\r\n";
			HAL_UART_Transmit(&huart2, (uint8_t*)debug_msg, strlen(debug_msg), 100);
			HAL_Delay(1000);
		}
	#else
		// Mode production : reset automatique
		const char* error_s_msg = "ERROR: System failure - Resetting\r\n";
		HAL_UART_Transmit(&huart2, (uint8_t*)error_s_msg, strlen(error_s_msg), 100);
		HAL_Delay(100);
		HAL_NVIC_SystemReset();
	#endif

  /* USER CODE END Error_Handler_Debug */
}
